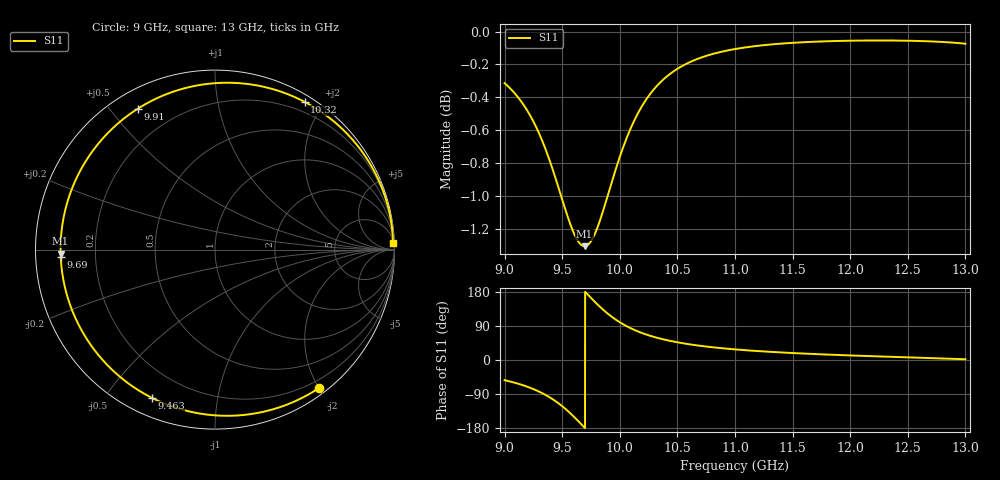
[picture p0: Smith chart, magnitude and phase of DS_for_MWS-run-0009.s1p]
! TOUCHSTONE file generated by CST DESIGN STUDIO
! Date and time: Tue Feb  4 18:11:19 2025
! Project name: C:\Work\MatlabApps\UnitCellOptimizationMatlab\CST\unitcell.cst
! Tree item: Tasks\Sweep1\SPara1\S-Parameters
! Header version: 2024
! Port assignment regex: !\s*Touchstone port\s*([0-9]+)\s*=\s*(CST MWS port|CST DES external port|CST DES block port)\s*(.+)\s* \(\"(.*)\"\)(\s*mode\s*([0-9]+))?.*
! Touchstone port assignment:
! Touchstone port 1 = CST DES external port 1 ("")
# GHz S MA R 50
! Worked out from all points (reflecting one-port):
!   4001 points, 9 GHz to 13 GHz, reference 50 ohm
!   lowest |S11| = -1.3 dB at 9.694 GHz (marker M1), VSWR 13.34, Z = 3.75 - j0.659 ohm
!   phase of S11 starts at -53 deg and turns -305 deg over the sweep
!   S11 on the Smith chart (normalised r, x): 9 GHz: 0.09, -1.99; 9.463 GHz: 0.08, -0.66; 9.69 GHz: 0.07, -0.02; 9.91 GHz: 0.07, +0.59; 10.32 GHz: 0.08, +1.77; 13 GHz: 13, +54
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9  0.9645 -53.3
9.123  0.9544 -63.1
9.241  0.9403 -75.6
9.365  0.9191 -93.8
9.416  0.9083 -103.3
9.463  0.8977 -113.2
9.5  0.8891 -121.9
9.553  0.8774 -135.7
9.607  0.8675 -151.2
9.65  0.8624 -164.5
9.69  0.8606 -177.2
9.694  0.8606 -178.5
9.739  0.8625 167.2
9.787  0.8686 152.3
9.849  0.8808 134.4
9.91  0.8951 118.8
10  0.9161 99.6
10.07  0.9302 87.5
10.154  0.9439 75.8
10.235  0.9542 66.7
10.322  0.9627 58.8
10.5  0.9743 46.7
10.719  0.9823 36.6
11  0.9878 28.0
11.5  0.9922 18.4
12  0.9936 12.0
12.5  0.9936 7.0
13  0.9915 2.0
